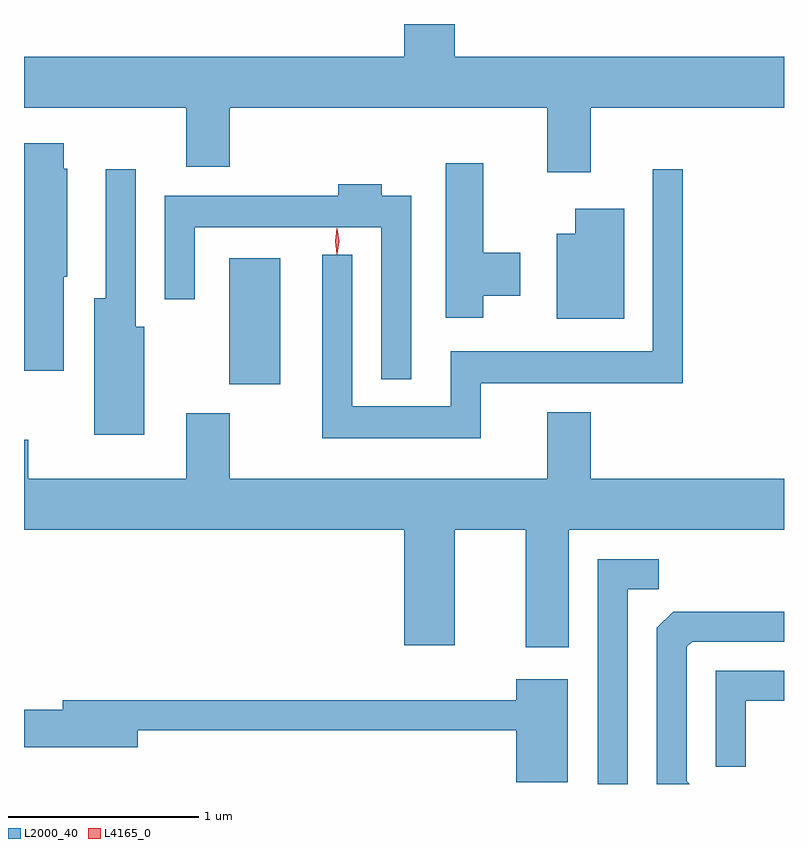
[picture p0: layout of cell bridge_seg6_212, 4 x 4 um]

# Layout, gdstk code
import gdstk
lib = gdstk.Library(unit=1e-6, precision=1e-09)
def R(c, l, rs):  # rectangles x0, y0, x1, y1
    for r in rs: c.add(gdstk.rectangle(r[:2], r[2:], *l))
def P(c, l, *ps):  # polygons
    for p in ps: c.add(gdstk.Polygon(p, *l))
L2000_40 = (2000, 40)
L4165_0 = (4165, 0)

bridge_seg6_212 = lib.new_cell('bridge_seg6_212')
R(bridge_seg6_212, L2000_40, [(1093.276,1550.801,1093.544,1551.464)])
P(bridge_seg6_212, L2000_40, [(1095.179,1552.256),(1096.196,1552.256),(1096.196,1552.524),(1094.464,1552.524),(1094.464,1552.697),(1094.196,1552.697),(1094.196,1552.524),(1092.196,1552.524),(1092.196,1552.256),(1093.051,1552.256),(1093.051,1551.946),(1093.279,1551.946),(1093.279,1552.256),(1094.951,1552.256),(1094.951,1551.916),(1095.179,1551.916)],
  [(1092.404,1551.366),(1092.424,1551.366),(1092.424,1551.934),(1092.404,1551.934),(1092.404,1552.069),(1092.196,1552.069),(1092.196,1550.871),(1092.404,1550.871)],
  [(1094.614,1551.266),(1094.809,1551.266),(1094.809,1551.494),(1094.614,1551.494),(1094.614,1551.964),(1094.416,1551.964),(1094.416,1551.151),(1094.614,1551.151)],
  [(1092.829,1551.104),(1092.784,1551.104),(1092.784,1551.933),(1092.626,1551.933),(1092.626,1551.254),(1092.566,1551.254),(1092.566,1550.536),(1092.829,1550.536)],
  [(1094.599,1550.806),(1095.664,1550.806),(1095.664,1551.933),(1095.506,1551.933),(1095.506,1550.974),(1094.441,1550.974),(1094.441,1550.684),(1093.924,1550.684),(1093.924,1551.483),(1093.766,1551.483),(1093.766,1550.516),(1094.599,1550.516)],
  [(1094.234,1551.794),(1094.079,1551.794),(1094.079,1551.854),(1093.851,1551.854),(1093.851,1551.794),(1092.936,1551.794),(1092.936,1551.248),(1093.094,1551.248),(1093.094,1551.626),(1094.076,1551.626),(1094.076,1550.828),(1094.234,1550.828)],
  [(1095.354,1551.724),(1095.096,1551.724),(1095.096,1551.594),(1095.001,1551.594),(1095.001,1551.146),(1095.354,1551.146)],
  [(1095.064,1550.036),(1096.196,1550.036),(1096.196,1550.304),(1095.179,1550.304),(1095.179,1550.654),(1094.951,1550.654),(1094.951,1550.304),(1093.279,1550.304),(1093.279,1550.649),(1093.051,1550.649),(1093.051,1550.304),(1092.219,1550.304),(1092.219,1550.509),(1092.196,1550.509),(1092.196,1550.036),(1094.196,1550.036),(1094.196,1549.426),(1094.464,1549.426),(1094.464,1550.036),(1094.836,1550.036),(1094.836,1549.416),(1095.064,1549.416)],
  [(1095.374,1549.721),(1095.538,1549.721),(1095.538,1549.879),(1095.216,1549.879),(1095.216,1548.697),(1095.374,1548.697)],
  [(1095.684,1548.712),(1095.684,1549.419),(1095.712,1549.446),(1096.196,1549.446),(1096.196,1549.604),(1095.612,1549.604),(1095.526,1549.519),(1095.526,1548.697),(1095.699,1548.697)],
  [(1095.994,1549.136),(1096.196,1549.136),(1096.196,1549.294),(1095.836,1549.294),(1095.836,1548.788),(1095.994,1548.788)],
  [(1095.059,1549.249),(1094.786,1549.249),(1094.786,1549.139),(1092.401,1549.139),(1092.401,1549.089),(1092.196,1549.089),(1092.196,1548.891),(1092.794,1548.891),(1092.794,1548.981),(1094.786,1548.981),(1094.786,1548.706),(1095.059,1548.706)])
P(bridge_seg6_212, L4165_0, [(1093.843,1551.487),(1093.834,1551.554),(1093.843,1551.62),(1093.843,1551.62),(1093.844,1551.62),(1093.853,1551.554),(1093.844,1551.487),(1093.844,1551.487)],
  [(1093.843,1551.484),(1093.834,1551.553),(1093.843,1551.622),(1093.844,1551.623),(1093.844,1551.622),(1093.854,1551.553),(1093.844,1551.484),(1093.844,1551.484)])

lib.write_gds('bridge_seg6_212.gds')
